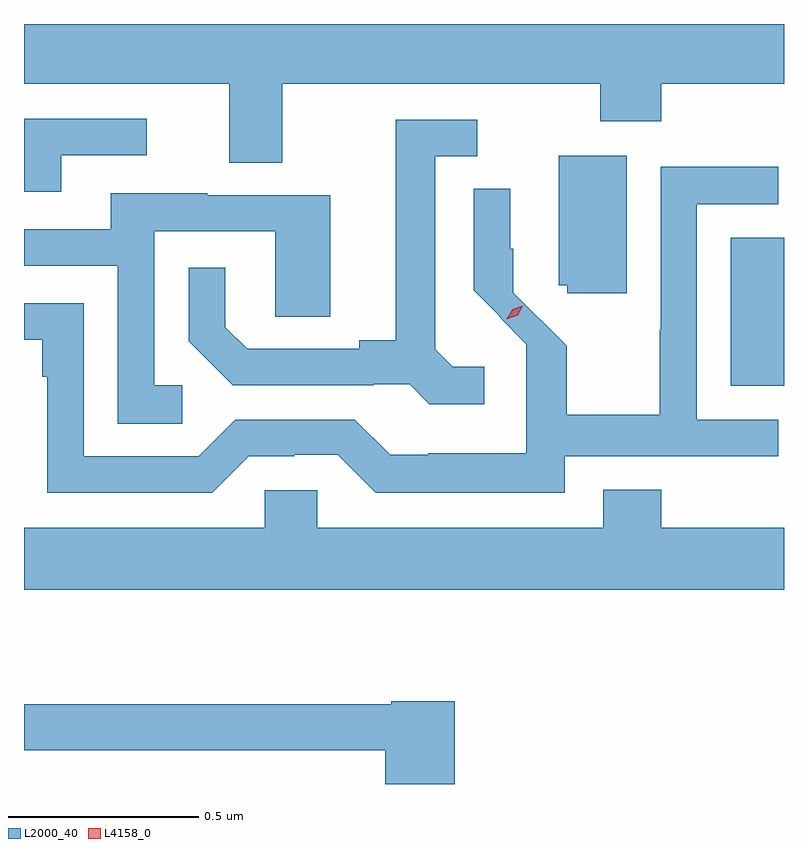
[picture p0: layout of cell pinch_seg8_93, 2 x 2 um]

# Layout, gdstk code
import gdstk
lib = gdstk.Library(unit=1e-6, precision=1e-09)
def R(c, l, rs):  # rectangles x0, y0, x1, y1
    for r in rs: c.add(gdstk.rectangle(r[:2], r[2:], *l))
def P(c, l, *ps):  # polygons
    for p in ps: c.add(gdstk.Polygon(p, *l))
L2000_40 = (2000, 40)
L4158_0 = (4158, 0)

pinch_seg8_93 = lib.new_cell('pinch_seg8_93')
R(pinch_seg8_93, L2000_40, [(1080.437,1103.717,1080.577,1104.106)])
P(pinch_seg8_93, L2000_40, [(1078.577,1104.512),(1079.117,1104.512),(1079.117,1104.304),(1079.257,1104.304),(1079.257,1104.512),(1080.094,1104.512),(1080.094,1104.413),(1080.254,1104.413),(1080.254,1104.512),(1080.577,1104.512),(1080.577,1104.669),(1078.577,1104.669)],
  [(1078.675,1104.324),(1078.9,1104.324),(1078.9,1104.42),(1078.577,1104.42),(1078.577,1104.228),(1078.675,1104.228)],
  [(1079.788,1103.767),(1079.705,1103.767),(1079.659,1103.813),(1079.659,1104.321),(1079.77,1104.321),(1079.77,1104.417),(1079.555,1104.417),(1079.555,1103.837),(1079.459,1103.837),(1079.459,1103.814),(1079.164,1103.814),(1079.107,1103.871),(1079.107,1104.028),(1079.01,1104.028),(1079.01,1103.834),(1079.126,1103.718),(1079.498,1103.718),(1079.498,1103.721),(1079.592,1103.721),(1079.644,1103.669),(1079.788,1103.669)],
  [(1080.163,1104.322),(1079.984,1104.322),(1079.984,1103.982),(1080.006,1103.982),(1080.006,1103.961),(1080.163,1103.961)],
  [(1080,1103.532),(1080.562,1103.532),(1080.562,1103.628),(1080.348,1103.628),(1080.348,1104.195),(1080.562,1104.195),(1080.562,1104.294),(1080.252,1104.294),(1080.252,1103.864),(1080.25,1103.864),(1080.25,1103.641),(1080.005,1103.641),(1080.005,1103.822),(1079.865,1103.962),(1079.865,1104.078),(1079.856,1104.078),(1079.856,1104.236),(1079.76,1104.236),(1079.76,1103.969),(1079.829,1103.9),(1079.827,1103.898),(1079.899,1103.826),(1079.899,1103.539),(1079.641,1103.539),(1079.641,1103.535),(1079.541,1103.535),(1079.448,1103.628),(1079.133,1103.628),(1079.037,1103.532),(1078.734,1103.532),(1078.734,1103.934),(1078.577,1103.934),(1078.577,1103.838),(1078.625,1103.838),(1078.625,1103.741),(1078.638,1103.741),(1078.638,1103.436),(1079.073,1103.436),(1079.169,1103.532),(1079.288,1103.532),(1079.288,1103.535),(1079.403,1103.535),(1079.503,1103.435),(1080,1103.435)],
  [(1078.993,1103.718),(1078.92,1103.718),(1078.92,1104.123),(1079.238,1104.123),(1079.238,1103.899),(1079.383,1103.899),(1079.383,1104.219),(1079.059,1104.219),(1079.059,1104.223),(1078.805,1104.223),(1078.805,1104.129),(1078.577,1104.129),(1078.577,1104.033),(1078.824,1104.033),(1078.824,1103.617),(1078.993,1103.617)],
  [(1080.577,1103.344),(1080.254,1103.344),(1080.254,1103.443),(1080.101,1103.443),(1080.101,1103.344),(1079.349,1103.344),(1079.349,1103.442),(1079.211,1103.442),(1079.211,1103.344),(1078.577,1103.344),(1078.577,1103.18),(1080.577,1103.18)],
  [(1079.711,1102.887),(1079.544,1102.887),(1079.544,1102.879),(1078.577,1102.879),(1078.577,1102.758),(1079.528,1102.758),(1079.528,1102.669),(1079.711,1102.669)])
P(pinch_seg8_93, L4158_0, [(1079.848,1103.892),(1079.848,1103.893),(1079.863,1103.918),(1079.89,1103.927),(1079.89,1103.927),(1079.89,1103.927),(1079.876,1103.902),(1079.848,1103.892)])

lib.write_gds('pinch_seg8_93.gds')
